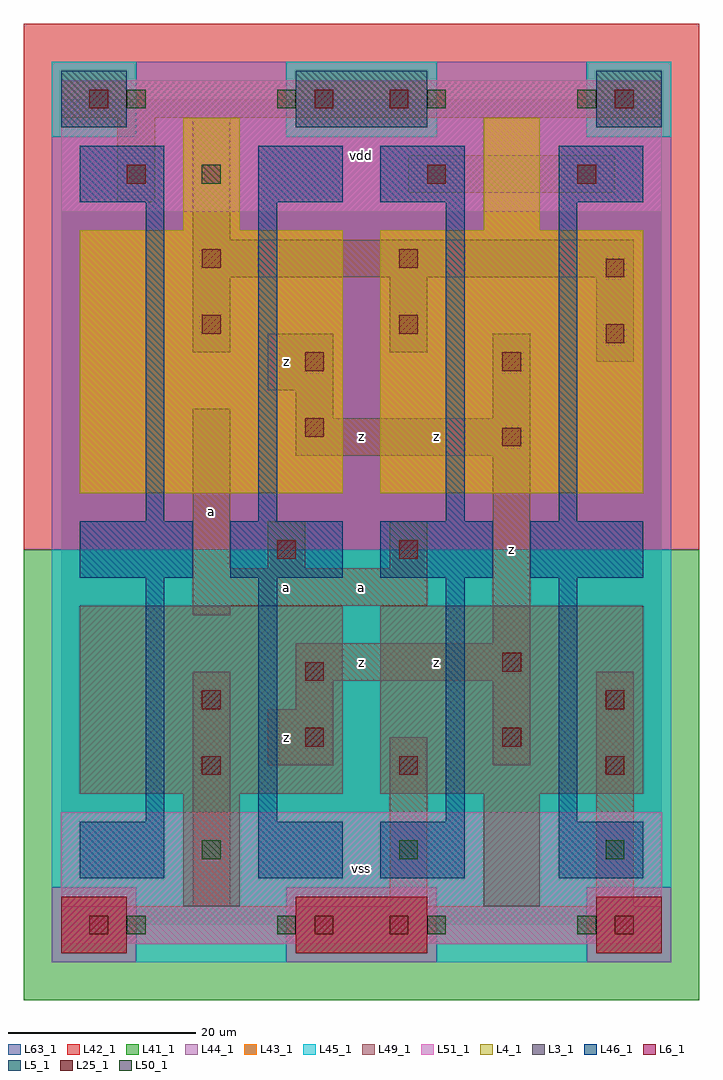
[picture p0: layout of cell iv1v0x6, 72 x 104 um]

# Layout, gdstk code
import gdstk
lib = gdstk.Library(unit=1e-6, precision=1e-09)
def R(c, l, rs):  # rectangles x0, y0, x1, y1
    for r in rs: c.add(gdstk.rectangle(r[:2], r[2:], *l))
def A(c, l, x, y, w, h, nx, ny, dx, dy):  # array of equal rectangles
    R(c, l, [(x+i*dx, y+j*dy, x+i*dx+w, y+j*dy+h) for i in range(nx) for j in range(ny)])
L3_1 = (3, 1)
L4_1 = (4, 1)
L5_1 = (5, 1)
L6_1 = (6, 1)
L25_1 = (25, 1)
L41_1 = (41, 1)
L42_1 = (42, 1)
L43_1 = (43, 1)
L44_1 = (44, 1)
L45_1 = (45, 1)
L46_1 = (46, 1)
L49_1 = (49, 1)
L50_1 = (50, 1)
L51_1 = (51, 1)
L63_1 = (63, 1)

iv1v0x6 = lib.new_cell('iv1v0x6')
R(iv1v0x6, L3_1, [(13,2,19,14), (45,2,51,14), (2,14,30,34), (34,14,62,34)])
R(iv1v0x6, L4_1, [(2,46,30,74), (34,46,62,74), (13,74,19,86), (45,74,51,86)])
R(iv1v0x6, L5_1, [(0,85,7,91), (25,85,39,91), (57,85,64,91)])
R(iv1v0x6, L6_1, [(0,-3,7,3), (0,-3,7,3), (25,-3,39,3), (25,-3,39,3), (57,-3,64,3), (57,-3,64,3)])
R(iv1v0x6, L25_1, [(3,-1,5,1), (27,-1,29,1), (35,-1,37,1), (59,-1,61,1), (15,16,17,18), (36,16,38,18), (58,16,60,18), (26,19,28,21), (47,19,49,21), (15,23,17,25), (58,23,60,25), (26,26,28,28), (47,27,49,29), (23,39,25,41), (36,39,38,41), (47,51,49,53), (26,52,28,54), (26,59,28,61), (47,59,49,61), (58,62,60,64), (15,63,17,65), (36,63,38,65), (58,69,60,71), (15,70,17,72), (36,70,38,72), (7,79,9,81), (39,79,41,81), (55,79,57,81), (3,87,5,89), (27,87,29,89), (35,87,37,89), (59,87,61,89)])
R(iv1v0x6, L41_1, [(-4,-8,68,40)])
R(iv1v0x6, L42_1, [(-4,40,68,96)])
R(iv1v0x6, L43_1, [(0,-3,7,3), (25,-3,39,3), (57,-3,64,3), (13,2,19,14), (45,2,51,14), (2,14,30,34), (34,14,62,34), (2,46,30,74), (34,46,62,74), (13,74,19,86), (45,74,51,86), (0,85,7,91), (25,85,39,91), (57,85,64,91)])
R(iv1v0x6, L44_1, [(-1,-4,8,4), (24,-4,40,4), (56,-4,65,4), (-1,40,65,84), (8,84,24,92), (40,84,56,92)])
R(iv1v0x6, L45_1, [(8,-4,24,4), (40,-4,56,4), (-1,4,65,40), (-1,84,8,92), (24,84,40,92), (56,84,65,92)])
A(iv1v0x6, L46_1, 2, 37, 12, 6, 4, 1, 16, 0)
R(iv1v0x6, L46_1, [(2,5,11,11), (21,5,30,11), (34,5,43,11), (53,5,62,11), (9,11,11,37), (21,11,23,37), (41,11,43,37), (53,11,55,37), (9,43,11,77), (21,43,23,77), (41,43,43,77), (53,43,55,77), (2,77,11,83), (21,77,30,83), (34,77,43,83), (53,77,62,83)])
R(iv1v0x6, L49_1, [(0,-2,64,2), (14,2,18,27), (35,2,39,20), (57,2,61,27), (22,17,29,23), (46,17,50,26), (25,23,29,26), (25,26,50,30), (46,30,50,50), (14,33,18,34), (14,34,39,38), (14,38,18,55), (22,38,26,43), (35,38,39,43), (25,50,50,54), (25,54,29,57), (46,54,50,63), (22,57,29,63), (57,60,61,69), (14,61,18,69), (35,61,39,69), (14,69,61,73), (14,73,18,86), (6,77,10,86), (37,78,59,82), (0,86,64,90)])
A(iv1v0x6, L50_1, 7, -1, 2, 2, 4, 2, 16, 88)
R(iv1v0x6, L50_1, [(15,7,17,9), (36,7,38,9), (58,7,60,9), (15,79,17,81)])
R(iv1v0x6, L51_1, [(0,-2,64,12), (0,76,64,90)])
R(iv1v0x6, L63_1, [(0,0,64,88)])
iv1v0x6.add(gdstk.Label('a', (16,44), layer=49, texttype=1))
iv1v0x6.add(gdstk.Label('z', (24,20), layer=49, texttype=1))
iv1v0x6.add(gdstk.Label('z', (32,28), layer=49, texttype=1))
iv1v0x6.add(gdstk.Label('a', (32,36), layer=49, texttype=1))
iv1v0x6.add(gdstk.Label('a', (24,36), layer=49, texttype=1))
iv1v0x6.add(gdstk.Label('z', (32,52), layer=49, texttype=1))
iv1v0x6.add(gdstk.Label('z', (24,60), layer=49, texttype=1))
iv1v0x6.add(gdstk.Label('z', (40,28), layer=49, texttype=1))
iv1v0x6.add(gdstk.Label('z', (48,40), layer=49, texttype=1))
iv1v0x6.add(gdstk.Label('z', (40,52), layer=49, texttype=1))
iv1v0x6.add(gdstk.Label('vss', (32,6), layer=51, texttype=1))
iv1v0x6.add(gdstk.Label('vdd', (32,82), layer=51, texttype=1))

lib.write_gds('iv1v0x6.gds')
